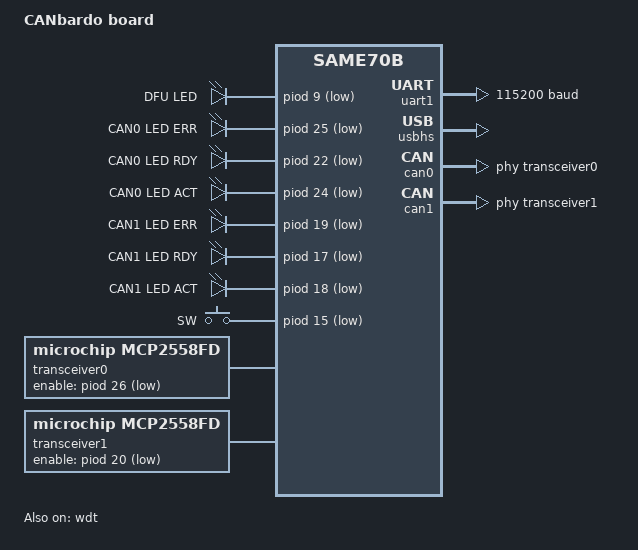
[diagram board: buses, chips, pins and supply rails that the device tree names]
/*
 * Copyright (c) 2024-2025 Henrik Brix Andersen <henrik@brixandersen.dk>
 * SPDX-License-Identifier: Apache-2.0
 */

/dts-v1/;

#include <freq.h>
#include <mem.h>
#include <atmel/same70x20b.dtsi>
#include <zephyr/dt-bindings/gpio/gpio.h>
#include <zephyr/dt-bindings/input/input-event-codes.h>

#include "canbardo-pinctrl.dtsi"

/ {
	model = "CANbardo board";
	compatible = "canbardo", "atmel,same70n20b", "atmel,same70b";

	chosen {
		zephyr,console = &uart1;
		zephyr,shell-uart = &uart1;
		zephyr,sram = &sram0;
		zephyr,flash = &flash0;
		zephyr,code-partition = &slot0_partition;
		zephyr,canbus = &can0;
	};

	aliases {
		led0 = &dfu_led;
		sw0 = &sw;
		mcuboot-led0 = &dfu_led;
		mcuboot-button0 = &sw;
	};

	leds {
		compatible = "gpio-leds";

		dfu_led: dfu_led {
			gpios = <&piod 9 GPIO_ACTIVE_LOW>;
			label = "DFU LED";
		};

		can_0_ledr: can_0_ledr {
			gpios = <&piod 25 GPIO_ACTIVE_LOW>;
			label = "CAN0 LED ERR";
		};

		can_0_ledg: can_0_ledg {
			gpios = <&piod 22 GPIO_ACTIVE_LOW>;
			label = "CAN0 LED RDY";
		};

		can_0_ledy: can_0_ledy {
			gpios = <&piod 24 GPIO_ACTIVE_LOW>;
			label = "CAN0 LED ACT";
		};

		can_1_ledr: can_1_ledr {
			gpios = <&piod 19 GPIO_ACTIVE_LOW>;
			label = "CAN1 LED ERR";
		};

		can_1_ledg: can_1_ledg {
			gpios = <&piod 17 GPIO_ACTIVE_LOW>;
			label = "CAN1 LED RDY";
		};

		can_1_ledy: can_1_ledy {
			gpios = <&piod 18 GPIO_ACTIVE_LOW>;
			label = "CAN1 LED ACT";
		};
	};

	gpio_keys {
		compatible = "gpio-keys";

		sw: sw {
			label = "SW";
			gpios = <&piod 15 GPIO_ACTIVE_LOW>;
			zephyr,code = <INPUT_KEY_0>;
		};
	};

	transceiver0: can-phy0 {
		compatible = "microchip,mcp2558fd", "can-transceiver-gpio";
		enable-gpios = <&piod 26 GPIO_ACTIVE_LOW>;
		max-bitrate = <8000000>;
		#phy-cells = <0>;
	};

	transceiver1: can-phy1 {
		compatible = "microchip,mcp2558fd", "can-transceiver-gpio";
		enable-gpios = <&piod 20 GPIO_ACTIVE_LOW>;
		max-bitrate = <8000000>;
		#phy-cells = <0>;
	};
};

&cpu0 {
	clock-frequency = <DT_FREQ_M(300)>;
};

&uart1 {
	status = "okay";
	current-speed = <115200>;
	pinctrl-0 = <&uart1_default>;
	pinctrl-names = "default";
};

zephyr_udc0: &usbhs {
	status = "okay";
};

&can0 {
	status = "okay";
	pinctrl-0 = <&can0_default>;
	pinctrl-names = "default";
	phys = <&transceiver0>;
};

&can1 {
	status = "okay";
	pinctrl-0 = <&can1_default>;
	pinctrl-names = "default";
	phys = <&transceiver1>;
};

&wdt {
	status = "okay";
};

&flash0 {
	partitions {
		compatible = "fixed-partitions";
		#address-cells = <1>;
		#size-cells = <1>;

		/* First half of sector 0 */
		boot_partition: partition@0 {
			label = "mcuboot";
			reg = <0x0 DT_SIZE_K(64)>;
			read-only;
		};

		/* From sector 1 to sector 3 (included) */
		slot0_partition: partition@20000 {
			label = "image-0";
			reg = <0x00020000 DT_SIZE_K(384)>;
		};

		/* From sector 4 to sector 6 (included) */
		slot1_partition: partition@80000 {
			label = "image-1";
			reg = <0x00080000 DT_SIZE_K(384)>;
		};

		/* Sector 7 */
		storage_partition: partition@e0000 {
			label = "storage";
			reg = <0x000e0000 DT_SIZE_K(128)>;
		};
	};
};
